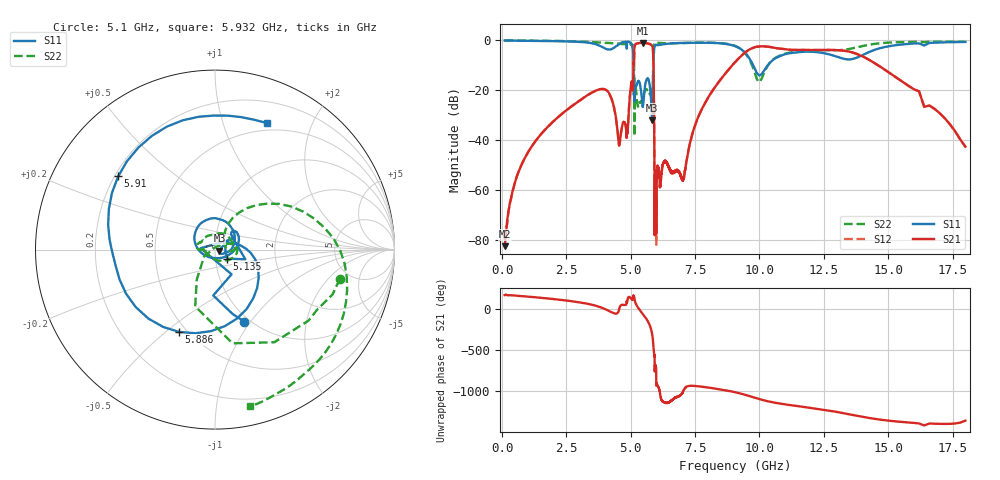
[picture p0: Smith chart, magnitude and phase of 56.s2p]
#  HZ  S  RI  R  50.00
! Rohde & Schwarz Vector Network Analyzer
! Rohde-Schwarz,ZNBT20-12Port,1332900224101045,3.12
! Created: UTC 12/16/2022, 2:38:46 AM
!The following Port Impedance Renormalization has been used when saving the data.
!PortZ  Port1:50+j0  Port4:50+j0
! freq[Hz]  re:S11  im:S11  re:S41  im:S41  re:S14  im:S14  re:S44  im:S44
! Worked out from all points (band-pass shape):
!   1479 points, 100 MHz to 18 GHz, reference 50 ohm
!   highest |S21| = -0.96 dB at 5.46 GHz (marker M1); lowest = -82.5 dB at 100 MHz (marker M2)
!   |S21| within 3 dB of the highest: 5.137 GHz to 5.864 GHz (727.1 MHz wide, 13.2 % of centre); 9.562 GHz to 13.15 GHz (3.585 GHz wide, 31.6 % of centre)
!   lowest |S11| = -32.0 dB at 5.826 GHz (marker M3), VSWR 1.05, Z = 52.5 - j0.571 ohm
!   |S11| at or under -10 dB: 5.107 GHz to 5.872 GHz (764.7 MHz wide, 13.9 % of centre); 9.757 GHz to 10.32 GHz (562.7 MHz wide, 5.61 % of centre)
!   |S22| runs from -38.3 to 0.0 dB; largest |S21 - S12| = 0.0019
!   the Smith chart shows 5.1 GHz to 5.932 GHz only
!   S11 on the Smith chart (normalised r, x): 5.1 GHz: 0.94, -0.93; 5.135 GHz: 1.14, -0.12; 5.886 GHz: 0.45, -0.56; 5.91 GHz: 0.21, +0.32; 5.932 GHz: 0.42, +1.41
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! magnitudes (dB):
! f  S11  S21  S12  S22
! 100 MHz  0.0  -82.5  -80.1  0.0
! 250 MHz  -0.1  -68.5  -69.0  0.0
! 600 MHz  -0.1  -53.8  -53.9  0.0
! 1.35 GHz  -0.2  -39.7  -39.7  -0.1
! 3.2 GHz  -0.7  -22.8  -22.8  -0.5
! 4.05 GHz  -3.4  -19.9  -19.9  -1.0
! 4.555 GHz  -1.5  -42.1  -42.1  -1.3
! 4.86 GHz  -0.6  -36.9  -36.9  -1.4
! 5.1 GHz  -7.3  -12.3  -12.3  -2.9
! 5.135 GHz  -21.5  -4.4  -4.4  -14.2
! 5.46 GHz  -26.3  -1.0  -1.0  -23.4
! 5.668 GHz  -15.3  -1.2  -1.2  -20.3
! 5.826 GHz  -32.0  -2.2  -2.2  -19.6
! 5.886 GHz  -6.0  -12.0  -12.0  -3.6
! 5.91 GHz  -3.4  -33.7  -33.7  -1.4
! 5.932 GHz  -2.4  -66.0  -65.1  -1.0
! 6.312 GHz  -1.5  -48.3  -48.5  -1.1
! 7.024 GHz  -1.0  -56.1  -56.1  -1.1
! 7.6 GHz  -0.9  -31.2  -31.2  -0.9
! 9.65 GHz  -7.9  -3.4  -3.4  -8.5
! 13 GHz  -6.5  -3.9  -3.9  -4.0
! 18 GHz  -0.6  -42.6  -42.7  -0.5
